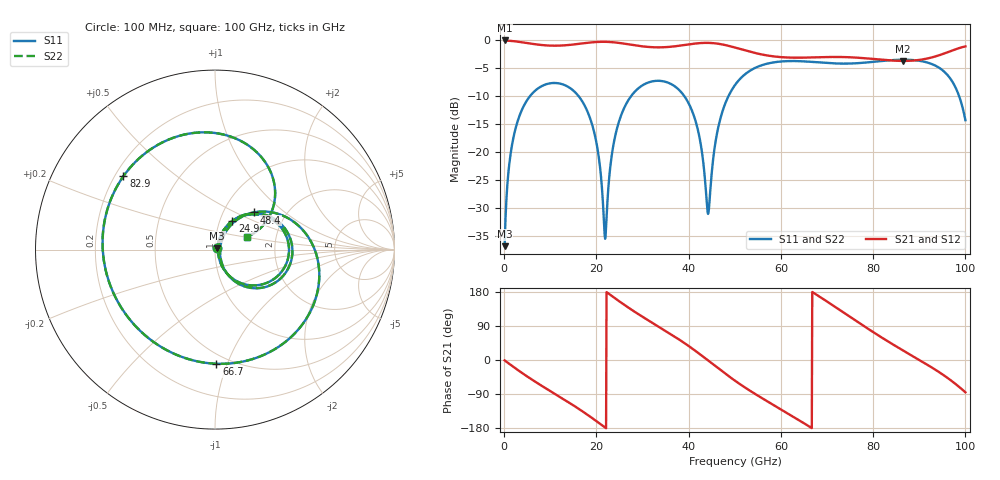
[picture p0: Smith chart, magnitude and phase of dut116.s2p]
! Touchstone file exported from HFSS 2026.1.0
!  File:  C:/ffzhzh/LocalFiles/Ansys_Project_Files/temp_train_TSV_RDL_116_1783458218_50928.aedt
!  Generated:  05:14:02 AM Jul  8, 2026
!  Design:  TSV_RDL
!  Project:  temp_train_TSV_RDL_116_1783458218_50928
! Variables:
!  h_bsmrdl = 4.28um
!  h_ox = 20um
!  h_rdl = 5um
!  h_sub = 83.63um
!  h_tmrdl = 2.23um
!  h_tsv = 83.63um
!  h_via = 3um
!  l_bsmrdl = 434.41um
!  l_sub = 2558.63um
!  l_tmrdl = 181.42um
!  m_sub = 200um
!  pitch = 43.1um
!  r_tsv = 10.73um
!  s_tmrdl = 10um
!  w_bsmrdl = 17.24um
!  w_sub = 500um
!  w_tmrdl = 26um
!  x_tsv_center1 = 194.42um
!  x_tsv_center2 = 646.07um
!  x_tsv_center3 = 853.49um
!  x_tsv_center4 = 1305.14um
!  x_tsv_center5 = 1512.56um
!  x_tsv_center6 = 1964.21um
# GHz S MA R 50.000000
! Terminal data exported
! Port[1] = TM_RDL1_1_T1
! Port[2] = TM_RDL5_1_T1
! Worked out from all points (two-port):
!   1000 points, 100 MHz to 100 GHz, reference 50 ohm
!   highest |S21| = -0.11 dB at 100 MHz (marker M1); lowest = -3.8 dB at 86.5 GHz (marker M2)
!   |S21| within 3 dB of the highest: start of sweep to 60.5 GHz; 92.84 GHz to end of sweep (the widest 2 of 3)
!   lowest |S11| = -36.8 dB at 100 MHz (marker M3), VSWR 1.03, Z = 51.3 + j0.761 ohm
!   |S11| at or under -10 dB: start of sweep to 5.641 GHz; 16.1 GHz to 27.55 GHz (11.45 GHz wide, 52.5 % of centre); 39.03 GHz to 48.66 GHz (9.628 GHz wide, 22 % of centre) (the widest 3 of 4)
!   |S22| runs from -36.8 to -3.5 dB; largest |S21 - S12| = 3.4e-13
!   S11 on the Smith chart (normalised r, x): 100 MHz: 1.03, +0.02; 24.9 GHz: 1.15, +0.38; 48.4 GHz: 1.39, +0.63; 66.7 GHz: 0.43, -0.92; 82.9 GHz: 0.23, +0.33; 100 GHz: 1.42, +0.21
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0.1  0.01447 30.9  0.9877 -1.0  0.9877 -1.0  0.01447 30.9
! Gamma 0 0 0 0
! Port Impedance 50 0 50 0
1.7  0.1151 66.1  0.9764 -15.4  0.9764 -15.4  0.1151 66.1
4.7  0.2778 44.8  0.9398 -41.1  0.9398 -41.1  0.2778 44.8
10.8  0.4126 0.0  0.8871 -87.9  0.8871 -87.9  0.4125 -0.0
16.8  0.2886 -43.7  0.9279 -134.0  0.9279 -134.0  0.2885 -43.8
19.9  0.1275 -65.2  0.9564 -160.4  0.9564 -160.4  0.1274 -65.4
21.9  0.01683 0.2  0.9607 -178.2  0.9607 -178.2  0.01636 0.2
24.9  0.1871 58.9  0.9392 155.4  0.9392 155.4  0.187 59.0
33.4  0.4316 -2.6  0.8573 88.7  0.8573 88.7  0.4315 -2.5
40.6  0.2405 -54.3  0.9179 31.8  0.9179 31.8  0.2405 -54.1
44.2  0.02803 -5.5  0.9398 -1.1  0.9398 -1.1  0.02903 -5.2
46.1  0.143 58.3  0.9272 -19.0  0.9272 -19.0  0.1432 57.9
48.4  0.3003 43.6  0.8896 -40.2  0.8896 -40.2  0.3004 43.5
50.1  0.3981 30.5  0.8528 -55.1  0.8528 -55.1  0.3982 30.4
57.6  0.6208 -24.3  0.7196 -113.0  0.7196 -113.0  0.6208 -24.2
66.7  0.636 -89.3  0.6969 -179.7  0.6969 -179.7  0.6361 -89.1
75.4  0.6158 -159.1  0.6981 110.5  0.6981 110.5  0.616 -158.8
82.9  0.6538 141.2  0.6592 51.4  0.6592 51.4  0.654 141.5
83.4  0.6564 137.5  0.6568 47.7  0.6568 47.7  0.6566 137.8
86.5  0.6652 115.1  0.649 25.0  0.649 25.0  0.6654 115.3
94.4  0.5606 59.8  0.731 -32.8  0.731 -32.8  0.5605 59.9
100  0.1921 21.9  0.8738 -85.3  0.8738 -85.3  0.1915 21.6
